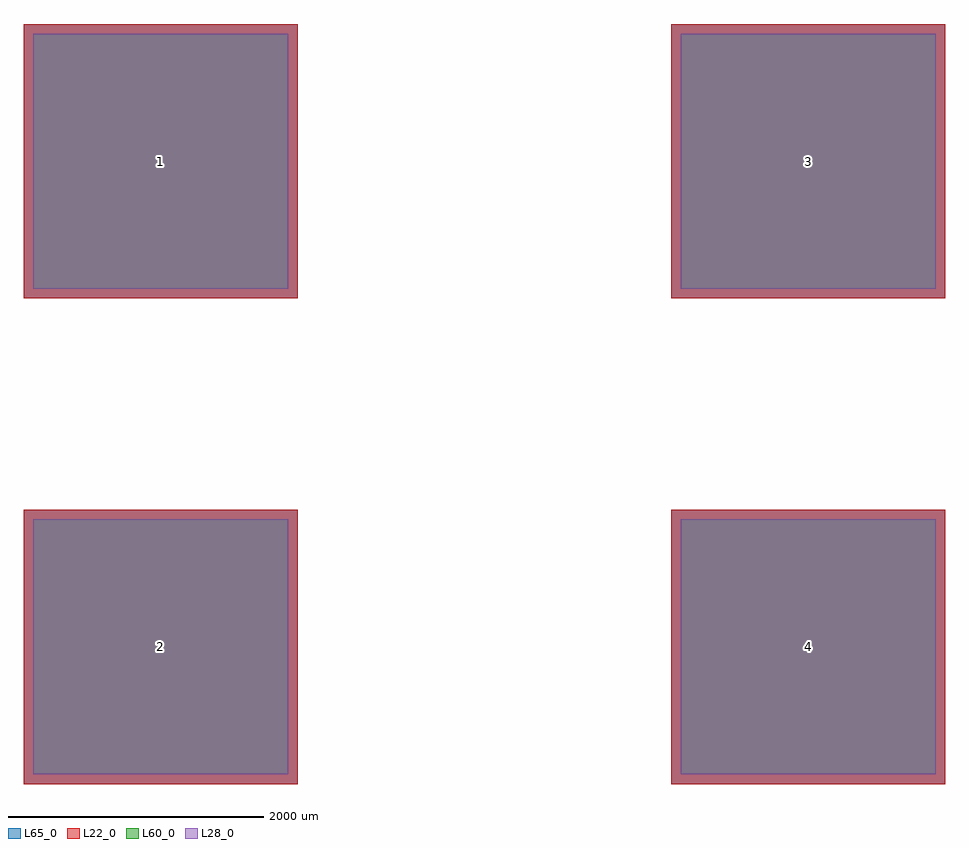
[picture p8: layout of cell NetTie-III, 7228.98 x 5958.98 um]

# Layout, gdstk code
import gdstk
lib = gdstk.Library(unit=1e-6, precision=1e-09)
def R(c, l, rs):  # rectangles x0, y0, x1, y1
    for r in rs: c.add(gdstk.rectangle(r[:2], r[2:], *l))
L22_0 = (22, 0)
L28_0 = (28, 0)
L60_0 = (60, 0)
L65_0 = (65, 0)

nettie_iii = lib.new_cell('NetTie-III')
R(nettie_iii, L22_0, [(-3614.49,-2979.49,-1465.51,-830.51), (1465.51,-2979.49,3614.49,-830.51), (-3614.49,830.51,-1465.51,2979.49), (1465.51,830.51,3614.49,2979.49)])
R(nettie_iii, L28_0, [(-3539.49,-2904.49,-1540.51,-905.51), (1540.51,-2904.49,3539.49,-905.51), (-3539.49,905.51,-1540.51,2904.49), (1540.51,905.51,3539.49,2904.49)])
R(nettie_iii, L60_0, [(-3539.49,-2904.49,-1540.51,-905.51), (1540.51,-2904.49,3539.49,-905.51), (-3539.49,905.51,-1540.51,2904.49), (1540.51,905.51,3539.49,2904.49)])
R(nettie_iii, L65_0, [(-3614.49,-2979.49,-1465.51,-830.51), (1465.51,-2979.49,3614.49,-830.51), (-3614.49,830.51,-1465.51,2979.49), (1465.51,830.51,3614.49,2979.49)])
nettie_iii.add(gdstk.Label('4', (2540,-1905), layer=28, texttype=0))
nettie_iii.add(gdstk.Label('3', (2540,1905), layer=28, texttype=0))
nettie_iii.add(gdstk.Label('2', (-2540,-1905), layer=28, texttype=0))
nettie_iii.add(gdstk.Label('1', (-2540,1905), layer=28, texttype=0))
nettie_iii.add(gdstk.Label('type', (0,4700), layer=9, texttype=0))
nettie_iii.add(gdstk.Label('devicename', (0,-7620), layer=9, texttype=0))

lib.write_gds('NetTie-III.gds')
